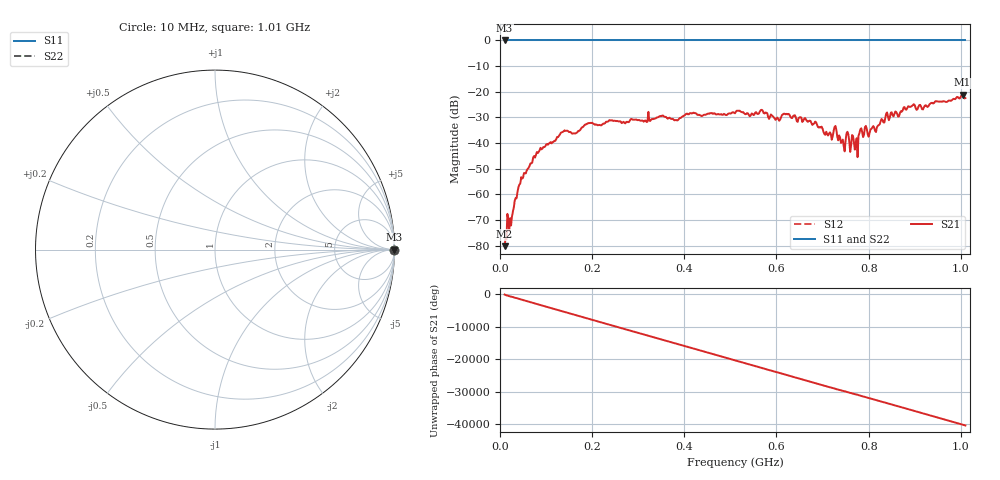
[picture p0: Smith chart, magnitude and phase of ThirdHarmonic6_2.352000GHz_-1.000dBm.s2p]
! 8/17/2025 3:33:14 AM
! C:\ANRITSUVNA\TEMP\TEMP.S2P
! CHANNEL.1
! TR.MEASUREMENT
! RAW.DATA
! RF.CORRECTION.OFF
! AVERAGING.OFF
! IF.BANDWIDTH: 5KHZ
! SWEEPTYPE:  FREQ.SWEEP(Linear)
! Reference Plane Port Info
! PORT:  PORT1  PORT2
! DISTANCE:  0  m  0  m
! TIME:  0  s  0  s
! PHASE.OFFSET:  0  deg.  0  deg.
! LOSS:  0  dB  0  dB
! REF.LOSS:  0  dB  0  dB
! REF.FREQ:  0  Hz  0  Hz
! Power Info
! POWER:  -20  dBm  -20  dBm
! EFF.POWER:  -20  dBm  -20  dBm
! SOURCE.ATTEN:  0  dB  0  dB
! TEST.ATTEN:  0  dB  0  dB
# GHZ S RI R 50.0
! FREQ.GHZ  S11RE  S11IM  S21RE  S21IM  S12RE  S12IM  S22RE  S22IM
!; PortSelection: Port_12
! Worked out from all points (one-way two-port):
!   501 points, 10 MHz to 1.01 GHz, reference 50 ohm
!   highest |S21| = -21.19 dB at 1.004 GHz (marker M1); lowest = -80.2 dB at 10 MHz (marker M2)
!   lowest |S11| = 0.0 dB at 10 MHz (marker M3)
!   |S11| at or under -10 dB: nowhere
!   |S22| runs from 0.0 to 0.0 dB; largest |S21 - S12| = 1.1
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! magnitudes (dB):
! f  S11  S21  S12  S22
! 10 MHz  0.0  -80.2  0.0  0.0
! 42 MHz  0.0  -56.2  0.0  0.0
! 76 MHz  0.0  -45.6  0.0  0.0
! 136 MHz  0.0  -35.7  0.0  0.0
! 178 MHz  0.0  -33.8  0.0  0.0
! 344 MHz  0.0  -29.8  0.0  0.0
! 382 MHz  0.0  -31.0  0.0  0.0
! 510 MHz  0.0  -28.4  0.0  0.0
! 568 MHz  0.0  -27.0  0.0  0.0
! 602 MHz  0.0  -30.0  0.0  0.0
! 622 MHz  0.0  -28.6  0.0  0.0
! 678 MHz  0.0  -32.9  0.0  0.0
! 708 MHz  0.0  -35.6  0.0  0.0
! 728 MHz  0.0  -33.3  0.0  0.0
! 744 MHz  0.0  -38.7  0.0  0.0
! 754 MHz  0.0  -35.6  0.0  0.0
! 772 MHz  0.0  -40.6  0.0  0.0
! 782 MHz  0.0  -34.7  0.0  0.0
! 802 MHz  0.0  -36.1  0.0  0.0
! 844 MHz  0.0  -31.1  0.0  0.0
! 1.004 GHz  0.0  -21.2  0.0  0.0
! 1.01 GHz  0.0  -22.5  0.0  0.0
